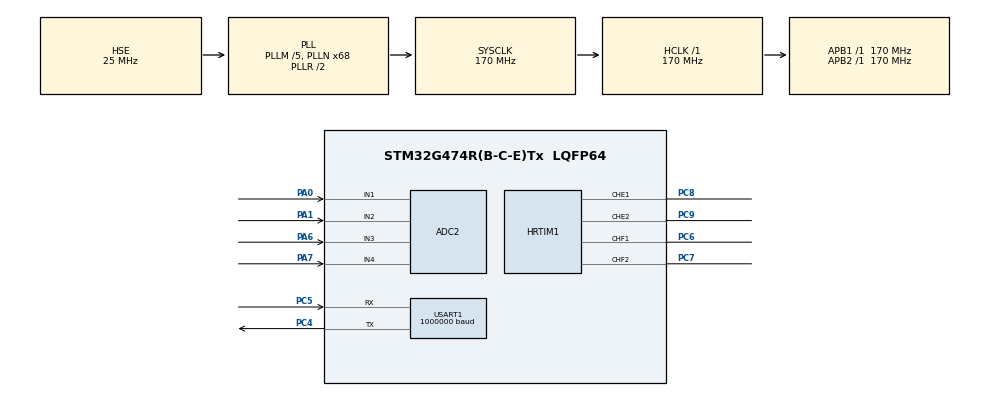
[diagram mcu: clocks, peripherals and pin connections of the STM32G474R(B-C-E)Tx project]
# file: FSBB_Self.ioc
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ADC2.Channel-0\#ChannelRegularConversion=ADC_CHANNEL_1
ADC2.EOCSelection=ADC_EOC_SEQ_CONV
ADC2.EnableInjectedConversion=ENABLE
ADC2.ExternalTrigInjecConv=ADC_EXTERNALTRIGINJEC_HRTIM_TRG2
ADC2.InjNumberOfConversion=4
ADC2.InjectedChannel-1\#ChannelInjectedConversion=ADC_CHANNEL_1
ADC2.InjectedChannel-2\#ChannelInjectedConversion=ADC_CHANNEL_2
ADC2.InjectedChannel-3\#ChannelInjectedConversion=ADC_CHANNEL_3
ADC2.InjectedChannel-4\#ChannelInjectedConversion=ADC_CHANNEL_4
ADC2.InjectedOffsetNumber-1\#ChannelInjectedConversion=ADC_OFFSET_NONE
ADC2.InjectedOffsetNumber-2\#ChannelInjectedConversion=ADC_OFFSET_NONE
ADC2.InjectedOffsetNumber-3\#ChannelInjectedConversion=ADC_OFFSET_NONE
ADC2.InjectedOffsetNumber-4\#ChannelInjectedConversion=ADC_OFFSET_NONE
ADC2.InjectedRank-1\#ChannelInjectedConversion=1
ADC2.InjectedRank-2\#ChannelInjectedConversion=2
ADC2.InjectedRank-3\#ChannelInjectedConversion=3
ADC2.InjectedRank-4\#ChannelInjectedConversion=4
ADC2.InjectedSamplingTime-1\#ChannelInjectedConversion=ADC_SAMPLETIME_2CYCLES_5
ADC2.InjectedSamplingTime-2\#ChannelInjectedConversion=ADC_SAMPLETIME_2CYCLES_5
ADC2.InjectedSamplingTime-3\#ChannelInjectedConversion=ADC_SAMPLETIME_2CYCLES_5
ADC2.InjectedSamplingTime-4\#ChannelInjectedConversion=ADC_SAMPLETIME_2CYCLES_5
ADC2.NbrOfConversionFlag=1
ADC2.OffsetNumber-0\#ChannelRegularConversion=ADC_OFFSET_NONE
ADC2.Rank-0\#ChannelRegularConversion=1
ADC2.Rank1_Channel=ADC_CHANNEL_1
ADC2.Rank2_Channel=ADC_CHANNEL_2
ADC2.Rank3_Channel=ADC_CHANNEL_3
ADC2.Rank4_Channel=ADC_CHANNEL_4
ADC2.SamplingTime-0\#ChannelRegularConversion=ADC_SAMPLETIME_2CYCLES_5
HRTIM1.ADCTrigger2_Source1=HRTIM_ADCTRIGGEREVENT24_MASTER_CMP4
HRTIM1.ADCTrigger_Id2=HRTIM_ADCTRIGGER_2
HRTIM1.CompareUnit1-Output_TE1TE2=HRTIM_COMPAREUNIT_1
HRTIM1.CompareUnit1-Output_TF1TF2=HRTIM_COMPAREUNIT_1
HRTIM1.CompareUnit2-Output_TE1TE2=__NULL
HRTIM1.CompareUnit2-Output_TF1TF2=__NULL
HRTIM1.CompareUnit4-MasterTimer=HRTIM_COMPAREUNIT_4
HRTIM1.CompareValue1-Output_TE1TE2=6800
HRTIM1.CompareValue1-Output_TF1TF2=20400\t
HRTIM1.CompareValue4-MasterTimer=10000
HRTIM1.Configuration_TE=Waveform
HRTIM1.DeadTimeInsertion-Output_TE1TE2=HRTIM_TIMDEADTIMEINSERTION_ENABLED
HRTIM1.DeadTimeInsertion-Output_TF1TF2=HRTIM_TIMDEADTIMEINSERTION_ENABLED
HRTIM1.Deadtimeconfig-Output_TE1TE2=HRTIM_TIMERINDEX_TIMER_E
HRTIM1.Deadtimeconfig-Output_TF1TF2=HRTIM_TIMERINDEX_TIMER_F
HRTIM1.FallingValue-Output_TE1TE2=30
HRTIM1.FallingValue-Output_TF1TF2=30
HRTIM1.NumberADCTriggerSource2=1
HRTIM1.NumberResetSource1-Output_TE1TE2=1
HRTIM1.NumberResetSource1-Output_TF1TF2=1
HRTIM1.NumberSetSource1-Output_TE1TE2=1
HRTIM1.NumberSetSource1-Output_TF1TF2=1
HRTIM1.Periode_MASTER=27200
HRTIM1.Periode_TE=27200
HRTIM1.Periode_TF=27200
HRTIM1.PreloadEnable-MasterTimer=HRTIM_PRELOAD_ENABLED
HRTIM1.PreloadEnable-Output_TE1TE2=HRTIM_PRELOAD_ENABLED
HRTIM1.PreloadEnable-Output_TF1TF2=HRTIM_PRELOAD_ENABLED
HRTIM1.PrescalerDead-Output_TE1TE2=HRTIM_TIMDEADTIME_PRESCALERRATIO_DIV1
HRTIM1.PrescalerDead-Output_TF1TF2=HRTIM_TIMDEADTIME_PRESCALERRATIO_DIV1
HRTIM1.RepetitionUpdate-MasterTimer=HRTIM_UPDATEONREPETITION_ENABLED
HRTIM1.RepetitionUpdate-Output_TE1TE2=HRTIM_UPDATEONREPETITION_ENABLED
HRTIM1.RepetitionUpdate-Output_TF1TF2=HRTIM_UPDATEONREPETITION_ENABLED
HRTIM1.ResetOutput1_Source1-Output_TE1TE2=HRTIM_OUTPUTRESET_TIMCMP1
HRTIM1.ResetOutput1_Source1-Output_TF1TF2=HRTIM_OUTPUTRESET_TIMCMP1
HRTIM1.RisingValue-Output_TE1TE2=30
HRTIM1.RisingValue-Output_TF1TF2=30
HRTIM1.SetOutput1_Source1-Output_TE1TE2=HRTIM_OUTPUTSET_UPDATE
HRTIM1.SetOutput1_Source1-Output_TF1TF2=HRTIM_OUTPUTSET_UPDATE
Mcu.Family=STM32G4
Mcu.Name=STM32G474R(B-C-E)Tx
Mcu.Package=LQFP64
NVIC.ADC1_2_IRQn=true\:0\:0\:false\:false\:true\:true\:true\:true
NVIC.PriorityGroup=NVIC_PRIORITYGROUP_4
PA0.Mode=IN1-Single-Ended
PA0.Signal=ADC2_IN1
PA1.Mode=IN2-Single-Ended
PA1.Signal=ADC2_IN2
PA13.Mode=Serial_Wire
PA13.Signal=SYS_JTMS-SWDIO
PA14.Mode=Serial_Wire
PA14.Signal=SYS_JTCK-SWCLK
PA6.Mode=IN3-Single-Ended
PA6.Signal=ADC2_IN3
PA7.Mode=IN4-Single-Ended
PA7.Signal=ADC2_IN4
PC4.Mode=Asynchronous
PC4.Signal=USART1_TX
PC5.Mode=Asynchronous
PC5.Signal=USART1_RX
PC6.Mode=Output_TF1TF2
PC6.Signal=HRTIM1_CHF1
PC7.Mode=Output_TF1TF2
PC7.Signal=HRTIM1_CHF2
PC8.Mode=Output_TE1TE2
PC8.Signal=HRTIM1_CHE1
PC9.Mode=Output_TE1TE2
PC9.Signal=HRTIM1_CHE2
PF0-OSC_IN.Mode=HSE-External-Oscillator
PF0-OSC_IN.Signal=RCC_OSC_IN
PF1-OSC_OUT.Mode=HSE-External-Oscillator
PF1-OSC_OUT.Signal=RCC_OSC_OUT
ProjectManager.HeapSize=0x200
ProjectManager.StackSize=0x400
ProjectManager.TargetToolchain=STM32CubeIDE
RCC.ADC12Freq_Value=170000000
RCC.ADC345Freq_Value=170000000
RCC.AHBFreq_Value=170000000
RCC.APB1Freq_Value=170000000
RCC.APB1TimFreq_Value=170000000
RCC.APB2Freq_Value=170000000
RCC.APB2TimFreq_Value=170000000
RCC.CortexFreq_Value=170000000
RCC.EXTERNAL_CLOCK_VALUE=12288000
RCC.HCLKFreq_Value=170000000
RCC.HSE_VALUE=25000000
RCC.HSI48_VALUE=48000000
RCC.HSI_VALUE=16000000
RCC.LSE_VALUE=32768
RCC.PLLM=RCC_PLLM_DIV5
RCC.PLLN=68
RCC.PLLSourceVirtual=RCC_PLLSOURCE_HSE
RCC.SYSCLKFreq_VALUE=170000000
RCC.SYSCLKSource=RCC_SYSCLKSOURCE_PLLCLK
RCC.USBFreq_Value=170000000
RCC.VCOOutputFreq_Value=340000000
USART1.BaudRate=1000000
USART1.VirtualMode-Asynchronous=VM_ASYNC
VP_HRTIM1_VS_hrtimMasterTimerNoOutput.Mode=MasterTimer
VP_SYS_VS_DBSignals.Mode=DisableDeadBatterySignals
board=custom

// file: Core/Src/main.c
/* USER CODE BEGIN Header */
/**
  ******************************************************************************
  * @file           : main.c
  * @brief          : Main program body
  ******************************************************************************
  * @attention
  *
  * Copyright (c) 2026 STMicroelectronics.
  * All rights reserved.
  *
  * This software is licensed under terms that can be found in the LICENSE file
  * in the root directory of this software component.
  * If no LICENSE file comes with this software, it is provided AS-IS.
  *
  ******************************************************************************
  */
/* USER CODE END Header */
#include "main.h"
#include "adc.h"
#include "hrtim.h"
#include "usart.h"
#include "gpio.h"

/* USER CODE BEGIN Includes */
#include "Global_Inc.h"
/* USER CODE END Includes */

void SystemClock_Config(void);

int main(void)
{

  /* MCU Configuration--------------------------------------------------------*/

  /* Reset of all peripherals, Initializes the Flash interface and the Systick. */
  HAL_Init();

  /* Configure the system clock */
  SystemClock_Config();

  /* Initialize all configured peripherals */
  MX_GPIO_Init();
  MX_ADC2_Init();
  MX_HRTIM1_Init();
  MX_USART1_UART_Init();

  /* Infinite loop */
  /* USER CODE BEGIN WHILE */

  SysInit();
  DualLoopInit(&currLoop, &volLoop);

  if (ADC_Calibration() == 1){
	  stateMode = SYS_SOFTSTART;
	  HAL_ADCEx_InjectedStart_IT(&hadc2);
  }

  powerMode = MODE_BUCK;
  previousPowerMode = MODE_BUCK;

  /* 按现有配置给出初值，具体最小有效脉宽另行验证 */
  float dutyF0 = BUCK_D_MIN;
  float dutyE0 = BUCK_HOLD_DUTY;
  previousDutyR = dutyF0;   /* 输入侧 F */
  previousDutyC = dutyE0;   /* 输出侧 E */

  HRTIM_TIMER_SetDutytoCCR(HRTIM_TIMERINDEX_TIMER_F, dutyF0);
  HRTIM_TIMER_SetDutytoCCR(HRTIM_TIMERINDEX_TIMER_E, dutyE0);

//  HRTIM_TIMER_SetDutytoCCR(HRTIM_TIMERINDEX_TIMER_F, 0.94f);
//  HRTIM_TIMER_SetDutytoCCR(HRTIM_TIMERINDEX_TIMER_E, 0.6267f);
  HAL_HRTIM_WaveformOutputStart(&hhrtim1, HRTIM_OUTPUT_TE1 | HRTIM_OUTPUT_TE2 |  HRTIM_OUTPUT_TF1 | HRTIM_OUTPUT_TF2);
  HAL_HRTIM_WaveformCountStart(&hhrtim1, HRTIM_TIMERID_MASTER | HRTIM_TIMERID_TIMER_E | HRTIM_TIMERID_TIMER_F);

   while (1)
  {
	   VOFA_JustFloat_Send4(adcPara.InputCurr, adcPara.InputVol, adcPara.OutCurr, adcPara.OutVol);
    /* USER CODE END WHILE */

  }
}

void SystemClock_Config(void)
{
  RCC_OscInitTypeDef RCC_OscInitStruct = {0};
  RCC_ClkInitTypeDef RCC_ClkInitStruct = {0};

  /** Configure the main internal regulator output voltage
  */
  HAL_PWREx_ControlVoltageScaling(PWR_REGULATOR_VOLTAGE_SCALE1_BOOST);

  /** Initializes the RCC Oscillators according to the specified parameters
  * in the RCC_OscInitTypeDef structure.
  */
  RCC_OscInitStruct.OscillatorType = RCC_OSCILLATORTYPE_HSE;
  RCC_OscInitStruct.HSEState = RCC_HSE_ON;
  RCC_OscInitStruct.PLL.PLLState = RCC_PLL_ON;
  RCC_OscInitStruct.PLL.PLLSource = RCC_PLLSOURCE_HSE;
  RCC_OscInitStruct.PLL.PLLM = RCC_PLLM_DIV5;
  RCC_OscInitStruct.PLL.PLLN = 68;
  RCC_OscInitStruct.PLL.PLLP = RCC_PLLP_DIV2;
  RCC_OscInitStruct.PLL.PLLQ = RCC_PLLQ_DIV2;
  RCC_OscInitStruct.PLL.PLLR = RCC_PLLR_DIV2;
  if (HAL_RCC_OscConfig(&RCC_OscInitStruct) != HAL_OK)
  {
    Error_Handler();
  }

  /** Initializes the CPU, AHB and APB buses clocks
  */
  RCC_ClkInitStruct.ClockType = RCC_CLOCKTYPE_HCLK|RCC_CLOCKTYPE_SYSCLK
                              |RCC_CLOCKTYPE_PCLK1|RCC_CLOCKTYPE_PCLK2;
  RCC_ClkInitStruct.SYSCLKSource = RCC_SYSCLKSOURCE_PLLCLK;
  RCC_ClkInitStruct.AHBCLKDivider = RCC_SYSCLK_DIV1;
  RCC_ClkInitStruct.APB1CLKDivider = RCC_HCLK_DIV1;
  RCC_ClkInitStruct.APB2CLKDivider = RCC_HCLK_DIV1;

  if (HAL_RCC_ClockConfig(&RCC_ClkInitStruct, FLASH_LATENCY_4) != HAL_OK)
  {
    Error_Handler();
  }
}

void Error_Handler(void)
{
  __disable_irq();
  while (1)
  {
  }
}
